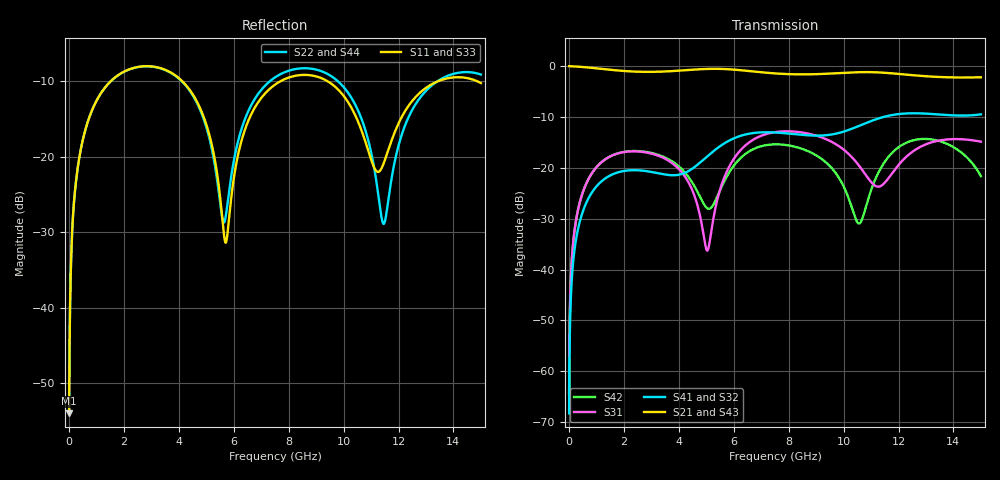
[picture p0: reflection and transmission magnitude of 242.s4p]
! Created with skrf 1.8.0 (http://scikit-rf.org).
# GHz S RI R 50.0
!freq ReS11 ImS11 ReS12 ImS12 ReS13 ImS13
! ReS14 ImS14
! ReS21 ImS21 ReS22 ImS22 ReS23 ImS23
! ReS24 ImS24
! ReS31 ImS31 ReS32 ImS32 ReS33 ImS33
! ReS34 ImS34
! ReS41 ImS41 ReS42 ImS42 ReS43 ImS43
! ReS44 ImS44
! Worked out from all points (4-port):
!   2499 points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, 5 MHz to 15 GHz, reference 50 ohm
!   strongest paths, dB at 5 MHz, 3.476 GHz, 7.19 GHz, 11.1 GHz, 15 GHz:
!     S21: 0.0, -1.1, -1.3, -1.2, -2.2
!     S43: 0.0, -1.1, -1.3, -1.2, -2.2
!     S41: -68.3, -21.3, -13.0, -10.6, -9.5
!     S32: -68.3, -21.3, -13.0, -10.6, -9.5
!     S31: -64.4, -18.2, -13.3, -23.3, -14.9
!     S42: -64.4, -17.9, -15.5, -23.0, -21.6
!   lowest |S11| = -54.0 dB at 5 MHz (marker M1), VSWR 1.00, Z = 50.2 + j0.121 ohm
!   |S11| at or under -10 dB: start of sweep to 1.52 GHz; 4.127 GHz to 7.701 GHz (3.574 GHz wide, 60.4 % of centre); 9.418 GHz to 13.44 GHz (4.02 GHz wide, 35.2 % of centre) (the widest 3 of 4)
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0.005  0.00159 0.00121  0.9984 -0.00309  7.83e-05 0.000595  -7.62e-05 -0.000378
       0.9984 -0.00309  0.00159 0.00121  -7.62e-05 -0.000378  7.83e-05 0.000595
       7.83e-05 0.000595  -7.62e-05 -0.000378  0.00159 0.00121  0.9984 -0.00309
       -7.62e-05 -0.000378  7.83e-05 0.000595  0.9984 -0.00309  0.00159 0.00121
0.3126303  0.0227 0.0798  0.9691 -0.1923  0.00981 0.0355  -0.00827 -0.0223
           0.9691 -0.1923  0.0227 0.0798  -0.00826 -0.0223  0.00989 0.0354
           0.00981 0.0355  -0.00826 -0.0223  0.0227 0.0798  0.9691 -0.1923
           -0.00827 -0.0223  0.00989 0.0354  0.9691 -0.1923  0.0227 0.0798
1.569404  0.2651 0.1836  0.5637 -0.7224  0.1176 0.0598  -0.0854 -0.00877
          0.5637 -0.7224  0.2648 0.1837  -0.0854 -0.0088  0.119 0.0579
          0.1176 0.0598  -0.0854 -0.0088  0.2651 0.1836  0.5638 -0.7224
          -0.0854 -0.00877  0.119 0.0579  0.5638 -0.7224  0.2647 0.1837
5.49604  0.0297 -0.0471  -0.9271 -0.1484  0.0268 0.0541  -0.0232 0.1611
         -0.9271 -0.1484  0.0378 -0.034  -0.0236 0.161  -0.0408 0.0436
         0.0268 0.0541  -0.0236 0.161  0.0304 -0.0467  -0.9271 -0.1484
         -0.0232 0.1611  -0.0408 0.0436  -0.9271 -0.1484  0.037 -0.0338
8.834931  0.3449 -0.0226  0.0282 0.8303  0.1431 -0.1581  0.1954 -0.0709
          0.0282 0.8303  0.3763 -0.0707  0.1953 -0.0694  0.1395 -0.0152
          0.1431 -0.1581  0.1953 -0.0694  0.3454 -0.024  0.0278 0.8303
          0.1954 -0.0709  0.1395 -0.0152  0.0278 0.8303  0.3764 -0.0692
11.47353  0.0838 0.0372  0.8579 0.0675  -0.0321 0.0624  0.0151 -0.3167
          0.8579 0.0675  0.036 -0.000642  0.017 -0.3166  0.0566 0.0965
          -0.0321 0.0624  0.017 -0.3166  0.0853 0.0341  0.8578 0.0696
          0.0151 -0.3167  0.0566 0.0965  0.8578 0.0696  0.0343 -0.00405
15  0.301 -0.0628  -0.1554 -0.7601  0.011 -0.1803  -0.3211 0.0965
    -0.1554 -0.7601  0.3399 -0.0856  -0.3212 0.0922  0.0397 -0.0728
    0.011 -0.1803  -0.3212 0.0922  0.2917 -0.0684  -0.1555 -0.7632
    -0.3211 0.0965  0.0397 -0.0728  -0.1555 -0.7632  0.3334 -0.0766
